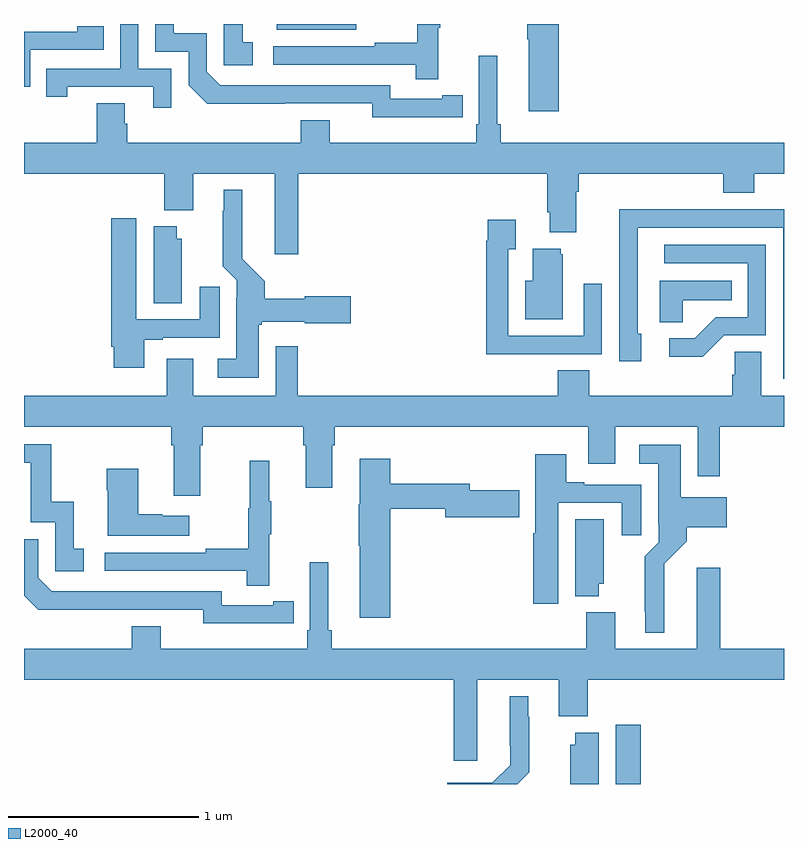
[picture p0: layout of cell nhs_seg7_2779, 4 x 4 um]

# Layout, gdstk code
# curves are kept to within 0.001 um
import gdstk
lib = gdstk.Library(unit=1e-6, precision=1e-09)
def R(c, l, rs):  # rectangles x0, y0, x1, y1
    for r in rs: c.add(gdstk.rectangle(r[:2], r[2:], *l))
def P(c, l, *ps):  # polygons
    for p in ps: c.add(gdstk.Polygon(p, *l))
L2000_40 = (2000, 40)

nhs_seg7_2779 = lib.new_cell('nhs_seg7_2779')
R(nhs_seg7_2779, L2000_40, [(292.115,1068,292.247,1068.313), (290.33,1071.971,290.749,1072)])
P(nhs_seg7_2779, L2000_40, [(289.776,1071.765),(289.602,1071.765),(289.602,1072),(289.506,1072),(289.506,1071.765),(289.117,1071.765),(289.117,1071.618),(289.228,1071.618),(289.228,1071.669),(289.679,1071.669),(289.679,1071.558),(289.776,1071.558)],
  [(291.815,1072),(291.649,1072),(291.649,1071.919),(291.656,1071.919),(291.656,1071.54),(291.815,1071.54)],
  [(291.179,1071.979),(291.19,1071.979),(291.19,1072),(291.069,1072),(291.069,1071.902),(290.845,1071.902),(290.845,1071.882),(290.313,1071.882),(290.313,1071.786),(291.061,1071.786),(291.061,1071.708),(291.179,1071.708)],
  [(291.2,1071.51),(291.308,1071.51),(291.308,1071.626),(291.2,1071.626),(291.2,1071.606),(290.928,1071.606),(290.928,1071.678),(290.034,1071.678),(289.962,1071.75),(289.962,1071.951),(289.789,1071.951),(289.789,1072),(289.692,1072),(289.692,1071.855),(289.866,1071.855),(289.866,1071.678),(289.964,1071.581),(290.832,1071.582),(290.832,1071.509)],
  [(290.203,1071.903),(290.15,1071.903),(290.15,1072),(290.052,1072),(290.052,1071.783),(290.203,1071.783)],
  [(289.032,1071.864),(289.421,1071.864),(289.421,1071.987),(289.281,1071.987),(289.281,1071.96),(289,1071.96),(289,1071.669),(289.032,1071.669)],
  [(291.393,1071.832),(291.393,1071.472),(291.38,1071.472),(291.38,1071.376),(290.608,1071.376),(290.608,1071.493),(290.456,1071.493),(290.456,1071.376),(289.544,1071.376),(289.544,1071.474),(289.531,1071.474),(289.531,1071.584),(289.384,1071.584),(289.384,1071.376),(289,1071.376),(289,1071.212),(289.739,1071.212),(289.739,1071.02),(289.891,1071.02),(289.891,1071.212),(290.321,1071.212),(290.321,1070.787),(290.444,1070.787),(290.444,1071.212),(291.755,1071.212),(291.755,1071.01),(291.767,1071.01),(291.767,1070.903),(291.907,1070.903),(291.907,1071.116),(291.92,1071.116),(291.92,1071.212),(292.679,1071.212),(292.679,1071.113),(292.844,1071.113),(292.844,1071.212),(293,1071.212),(293,1071.376),(291.509,1071.376),(291.509,1071.472),(291.49,1071.472),(291.49,1071.832)],
  [(290.236,1070.418),(290.25,1070.418),(290.25,1070.432),(290.478,1070.432),(290.478,1070.425),(290.719,1070.425),(290.719,1070.567),(290.478,1070.567),(290.478,1070.554),(290.267,1070.554),(290.267,1070.646),(290.149,1070.764),(290.149,1071.127),(290.051,1071.127),(290.051,1071.017),(290.047,1071.017),(290.047,1070.726),(290.121,1070.652),(290.121,1070.558),(290.117,1070.558),(290.117,1070.239),(290.019,1070.239),(290.019,1070.138),(290.236,1070.138)],
  [(293,1071.024),(292.595,1071.024),(292.595,1071.026),(292.132,1071.026),(292.132,1070.719),(292.134,1070.719),(292.134,1070.226),(292.249,1070.226),(292.249,1070.37),(292.23,1070.37),(292.23,1070.928),(292.995,1070.928),(292.995,1070.133),(293,1070.133)],
  [(289.633,1070.337),(289.729,1070.337),(289.729,1070.349),(290.029,1070.349),(290.029,1070.617),(289.925,1070.617),(289.925,1070.445),(289.591,1070.445),(289.591,1070.977),(289.46,1070.977),(289.46,1070.302),(289.472,1070.302),(289.472,1070.19),(289.633,1070.19)],
  [(291.725,1070.262),(292.041,1070.262),(292.041,1070.632),(291.945,1070.632),(291.945,1070.358),(291.549,1070.358),(291.549,1070.815),(291.589,1070.815),(291.589,1070.971),(291.441,1070.971),(291.441,1070.858),(291.433,1070.858),(291.433,1070.261),(291.725,1070.261)],
  [(289.831,1070.871),(289.804,1070.871),(289.804,1070.935),(289.682,1070.935),(289.682,1070.53),(289.831,1070.53)],
  [(292.686,1070.361),(292.905,1070.361),(292.905,1070.838),(292.371,1070.838),(292.371,1070.742),(292.809,1070.742),(292.809,1070.457),(292.64,1070.457),(292.529,1070.346),(292.395,1070.346),(292.395,1070.249),(292.573,1070.249)],
  [(291.835,1070.787),(291.824,1070.787),(291.824,1070.818),(291.677,1070.818),(291.677,1070.65),(291.638,1070.65),(291.638,1070.447),(291.835,1070.447)],
  [(292.467,1070.546),(292.724,1070.546),(292.724,1070.65),(292.346,1070.65),(292.346,1070.431),(292.467,1070.431)],
  [(291.974,1070.177),(291.809,1070.177),(291.809,1070.044),(290.441,1070.044),(290.441,1070.305),(290.325,1070.305),(290.325,1070.044),(289.891,1070.044),(289.891,1070.239),(289.751,1070.239),(289.751,1070.044),(289,1070.044),(289,1069.88),(289.775,1069.88),(289.775,1069.784),(289.787,1069.784),(289.787,1069.518),(289.927,1069.518),(289.927,1069.784),(289.94,1069.784),(289.94,1069.88),(290.471,1069.88),(290.471,1069.784),(290.483,1069.784),(290.483,1069.56),(290.623,1069.56),(290.623,1069.784),(290.636,1069.784),(290.636,1069.88),(291.971,1069.88),(291.971,1069.686),(292.111,1069.686),(292.111,1069.88),(292.545,1069.88),(292.545,1069.62),(292.661,1069.62),(292.661,1069.88),(293,1069.88),(293,1070.044),(292.879,1070.044),(292.879,1070.276),(292.74,1070.276),(292.74,1070.153),(292.727,1070.153),(292.727,1070.044),(291.974,1070.044)],
  [(289.315,1069.239),(289.262,1069.239),(289.262,1069.486),(289.144,1069.486),(289.144,1069.788),(289,1069.788),(289,1069.692),(289.035,1069.692),(289.035,1069.377),(289.164,1069.377),(289.164,1069.119),(289.315,1069.119)],
  [(292.369,1069.16),(292.487,1069.278),(292.487,1069.352),(292.699,1069.352),(292.699,1069.51),(292.456,1069.51),(292.456,1069.786),(292.239,1069.786),(292.239,1069.685),(292.337,1069.685),(292.337,1069.366),(292.341,1069.366),(292.341,1069.272),(292.267,1069.198),(292.267,1068.907),(292.271,1068.907),(292.271,1068.797),(292.369,1068.797)],
  [(291.811,1069.479),(292.145,1069.479),(292.145,1069.308),(292.249,1069.308),(292.249,1069.575),(291.949,1069.575),(291.949,1069.588),(291.853,1069.588),(291.853,1069.735),(291.692,1069.735),(291.692,1069.319),(291.68,1069.319),(291.68,1068.948),(291.811,1068.948)],
  [(290.927,1069.45),(291.218,1069.45),(291.218,1069.403),(291.607,1069.403),(291.607,1069.545),(291.346,1069.545),(291.346,1069.579),(290.927,1069.579),(290.927,1069.711),(290.768,1069.711),(290.768,1069.473),(290.761,1069.473),(290.761,1069.255),(290.768,1069.255),(290.768,1068.876),(290.927,1068.876)],
  [(290.291,1069.315),(290.302,1069.315),(290.302,1069.489),(290.291,1069.489),(290.291,1069.702),(290.188,1069.702),(290.188,1069.452),(290.181,1069.452),(290.181,1069.238),(289.957,1069.238),(289.957,1069.218),(289.425,1069.218),(289.425,1069.122),(290.173,1069.122),(290.173,1069.044),(290.291,1069.044)],
  [(289.87,1069.411),(289.727,1069.411),(289.727,1069.421),(289.6,1069.421),(289.6,1069.66),(289.435,1069.66),(289.435,1069.547),(289.442,1069.547),(289.442,1069.307),(289.87,1069.307)],
  [(292.024,1069.053),(292.051,1069.053),(292.051,1069.394),(291.902,1069.394),(291.902,1068.989),(292.024,1068.989)],
  [(290.312,1068.846),(290.42,1068.846),(290.42,1068.962),(290.312,1068.962),(290.312,1068.942),(290.04,1068.942),(290.04,1069.014),(289.146,1069.014),(289.074,1069.086),(289.074,1069.287),(289,1069.287),(289,1068.992),(289.076,1068.917),(289.944,1068.918),(289.944,1068.845)],
  [(291.385,1068.548),(291.815,1068.548),(291.815,1068.356),(291.968,1068.356),(291.968,1068.548),(293,1068.548),(293,1068.712),(292.664,1068.712),(292.664,1069.138),(292.541,1069.138),(292.541,1068.712),(292.111,1068.712),(292.111,1068.904),(291.959,1068.904),(291.959,1068.712),(290.621,1068.712),(290.621,1068.808),(290.602,1068.808),(290.602,1069.168),(290.505,1069.168),(290.505,1068.808),(290.492,1068.808),(290.492,1068.712),(289.72,1068.712),(289.72,1068.829),(289.568,1068.829),(289.568,1068.712),(289,1068.712),(289,1068.548),(291.263,1068.548),(291.263,1068.123),(291.385,1068.123)],
  [(291.659,1068.062),(291.659,1068.353),(291.655,1068.353),(291.655,1068.463),(291.557,1068.463),(291.557,1068.202),(291.558,1068.202),(291.558,1068.1),(291.465,1068.007),(291.228,1068.007),(291.228,1068),(291.597,1068)],
  [(292.024,1068.271),(291.902,1068.271),(291.902,1068.207),(291.875,1068.207),(291.875,1068),(292.024,1068)])

lib.write_gds('nhs_seg7_2779.gds')
